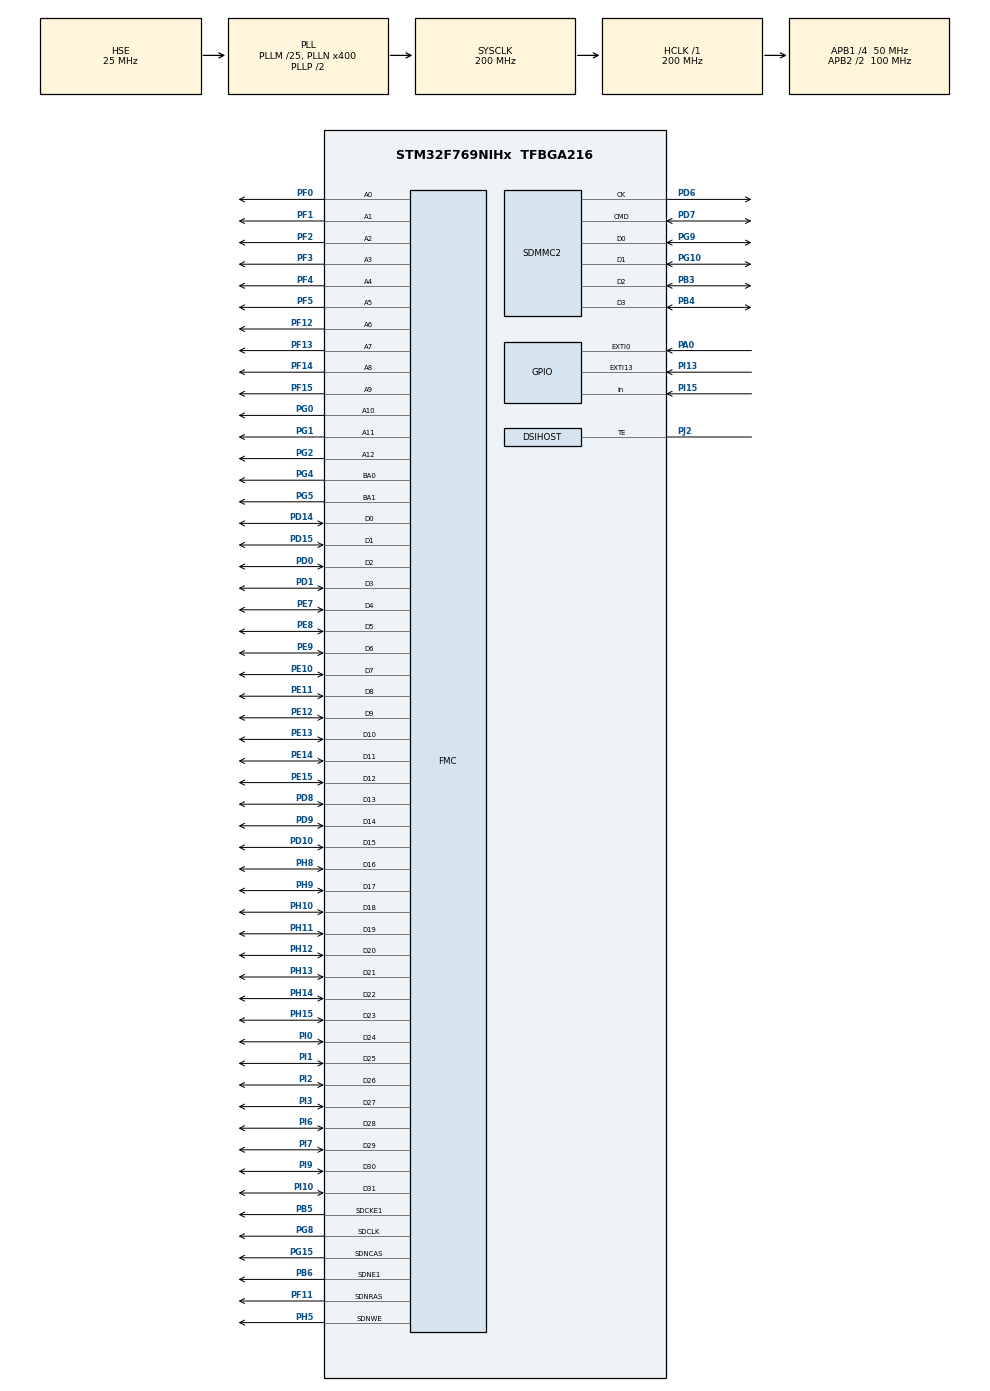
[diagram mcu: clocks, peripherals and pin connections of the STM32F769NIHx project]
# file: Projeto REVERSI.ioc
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ADC1.Channel-1\#ChannelRegularConversion=ADC_CHANNEL_TEMPSENSOR
ADC1.ContinuousConvMode=ENABLE
ADC1.EOCSelection=ADC_EOC_SEQ_CONV
ADC1.NbrOfConversionFlag=1
ADC1.Rank-1\#ChannelRegularConversion=1
ADC1.SamplingTime-1\#ChannelRegularConversion=ADC_SAMPLETIME_56CYCLES
ADC1.master=1
CORTEX_M7.CPU_DCache=Enabled
CORTEX_M7.CPU_ICache=Enabled
DSIHOST_CKN.Mode=DSIHost_Adapted_TE
DSIHOST_CKN.Signal=DSIHOST_CKN
DSIHOST_CKP.Mode=DSIHost_Adapted_TE
DSIHOST_CKP.Signal=DSIHOST_CKP
DSIHOST_D0N.Mode=DSIHost_Adapted_TE
DSIHOST_D0N.Signal=DSIHOST_D0N
DSIHOST_D0P.Mode=DSIHost_Adapted_TE
DSIHOST_D0P.Signal=DSIHOST_D0P
DSIHOST_D1N.Mode=DSIHost_Adapted_TE
DSIHOST_D1N.Signal=DSIHOST_D1N
DSIHOST_D1P.Mode=DSIHost_Adapted_TE
DSIHOST_D1P.Signal=DSIHOST_D1P
FATFS.BSP.number=1
FATFS0.BSP.STBoard=false
FATFS0.BSP.api=Unknown
FATFS0.BSP.i2caddr=0
FATFS0.BSP.instance=PI15
FATFS0.BSP.ip=GPIO
FATFS0.BSP.mode=Input
FATFS0.BSP.name=Detect_SDIO
FATFS0.BSP.solution=PI15
Mcu.Family=STM32F7
Mcu.Name=STM32F769NIHx
Mcu.Package=TFBGA216
NVIC.ADC_IRQn=true\:0\:0\:false\:false\:true\:true\:true
NVIC.EXTI0_IRQn=true\:0\:0\:false\:false\:true\:true\:true
NVIC.EXTI15_10_IRQn=true\:0\:0\:false\:false\:true\:true\:true
NVIC.PriorityGroup=NVIC_PRIORITYGROUP_4
NVIC.TIM6_DAC_IRQn=true\:0\:0\:false\:false\:true\:true\:true
NVIC.TIM7_IRQn=true\:0\:0\:false\:false\:true\:true\:true
PA0/WKUP.Signal=GPXTI0
PB3.Mode=SD_4_bits_Wide_bus
PB3.Signal=SDMMC2_D2
PB4.Mode=SD_4_bits_Wide_bus
PB4.Signal=SDMMC2_D3
PB5.Mode=SdramChipSelect2_1
PB5.Signal=FMC_SDCKE1
PB6.Mode=SdramChipSelect2_1
PB6.Signal=FMC_SDNE1
PD0.Signal=FMC_D2_DA2
PD1.Signal=FMC_D3_DA3
PD10.Signal=FMC_D15_DA15
PD14.Signal=FMC_D0_DA0
PD15.Signal=FMC_D1_DA1
PD6.Mode=SD_4_bits_Wide_bus
PD6.Signal=SDMMC2_CK
PD7.Mode=SD_4_bits_Wide_bus
PD7.Signal=SDMMC2_CMD
PD8.Signal=FMC_D13_DA13
PD9.Signal=FMC_D14_DA14
PE10.Signal=FMC_D7_DA7
PE11.Signal=FMC_D8_DA8
PE12.Signal=FMC_D9_DA9
PE13.Signal=FMC_D10_DA10
PE14.Signal=FMC_D11_DA11
PE15.Signal=FMC_D12_DA12
PE7.Signal=FMC_D4_DA4
PE8.Signal=FMC_D5_DA5
PE9.Signal=FMC_D6_DA6
PF0.Signal=FMC_A0
PF1.Signal=FMC_A1
PF11.Signal=FMC_SDNRAS
PF12.Signal=FMC_A6
PF13.Signal=FMC_A7
PF14.Signal=FMC_A8
PF15.Signal=FMC_A9
PF2.Signal=FMC_A2
PF3.Signal=FMC_A3
PF4.Signal=FMC_A4
PF5.Signal=FMC_A5
PG0.Signal=FMC_A10
PG1.Signal=FMC_A11
PG10.Mode=SD_4_bits_Wide_bus
PG10.Signal=SDMMC2_D1
PG15.Signal=FMC_SDNCAS
PG2.Signal=FMC_A12
PG4.Signal=FMC_A14_BA0
PG5.Signal=FMC_A15_BA1
PG8.Signal=FMC_SDCLK
PG9.Mode=SD_4_bits_Wide_bus
PG9.Signal=SDMMC2_D0
PH0/OSC_IN.Mode=HSE-External-Oscillator
PH0/OSC_IN.Signal=RCC_OSC_IN
PH1/OSC_OUT.Mode=HSE-External-Oscillator
PH1/OSC_OUT.Signal=RCC_OSC_OUT
PH10.Signal=FMC_D18
PH11.Signal=FMC_D19
PH12.Signal=FMC_D20
PH13.Signal=FMC_D21
PH14.Signal=FMC_D22
PH15.Signal=FMC_D23
PH5.Signal=FMC_SDNWE
PH8.Signal=FMC_D16
PH9.Signal=FMC_D17
PI0.Signal=FMC_D24
PI1.Signal=FMC_D25
PI10.Signal=FMC_D31
PI13.Signal=GPXTI13
PI15.Signal=GPIO_Input
PI2.Signal=FMC_D26
PI3.Signal=FMC_D27
PI6.Signal=FMC_D28
PI7.Signal=FMC_D29
PI9.Signal=FMC_D30
PJ2.Mode=DSIHost_Adapted_TE
PJ2.Signal=DSIHOST_TE
ProjectManager.HeapSize=0x200
ProjectManager.StackSize=0x400
ProjectManager.TargetToolchain=STM32CubeIDE
RCC.AHBFreq_Value=200000000
RCC.APB1CLKDivider=RCC_HCLK_DIV4
RCC.APB1Freq_Value=50000000
RCC.APB1TimFreq_Value=100000000
RCC.APB2CLKDivider=RCC_HCLK_DIV2
RCC.APB2Freq_Value=100000000
RCC.APB2TimFreq_Value=200000000
RCC.CortexFreq_Value=200000000
RCC.HCLKFreq_Value=200000000
RCC.HSE_VALUE=25000000
RCC.HSI_VALUE=16000000
RCC.LSE_VALUE=32768
RCC.PLLI2SN=96
RCC.PLLM=25
RCC.PLLN=400
RCC.PLLQ=8
RCC.PLLR=7
RCC.PLLSourceVirtual=RCC_PLLSOURCE_HSE
RCC.SDMMC2ClockSelection=RCC_SDMMC2CLKSOURCE_CLK48
RCC.SYSCLKFreq_VALUE=200000000
RCC.SYSCLKSource=RCC_SYSCLKSOURCE_PLLCLK
RCC.USBFreq_Value=50000000
RCC.VCOOutputFreq_Value=400000000
SH.FMC_A0.0=FMC_A0,13b-sda1
SH.FMC_A1.0=FMC_A1,13b-sda1
SH.FMC_A10.0=FMC_A10,13b-sda1
SH.FMC_A11.0=FMC_A11,13b-sda1
SH.FMC_A12.0=FMC_A12,13b-sda1
SH.FMC_A14_BA0.0=FMC_BA0,FourSdramBanks1
SH.FMC_A15_BA1.0=FMC_BA1,FourSdramBanks1
SH.FMC_A2.0=FMC_A2,13b-sda1
SH.FMC_A3.0=FMC_A3,13b-sda1
SH.FMC_A4.0=FMC_A4,13b-sda1
SH.FMC_A5.0=FMC_A5,13b-sda1
SH.FMC_A6.0=FMC_A6,13b-sda1
SH.FMC_A7.0=FMC_A7,13b-sda1
SH.FMC_A8.0=FMC_A8,13b-sda1
SH.FMC_A9.0=FMC_A9,13b-sda1
SH.FMC_D0_DA0.0=FMC_D0,sd-32b-d1
SH.FMC_D10_DA10.0=FMC_D10,sd-32b-d1
SH.FMC_D11_DA11.0=FMC_D11,sd-32b-d1
SH.FMC_D12_DA12.0=FMC_D12,sd-32b-d1
SH.FMC_D13_DA13.0=FMC_D13,sd-32b-d1
SH.FMC_D14_DA14.0=FMC_D14,sd-32b-d1
SH.FMC_D15_DA15.0=FMC_D15,sd-32b-d1
SH.FMC_D16.0=FMC_D16,sd-32b-d1
SH.FMC_D17.0=FMC_D17,sd-32b-d1
SH.FMC_D18.0=FMC_D18,sd-32b-d1
SH.FMC_D19.0=FMC_D19,sd-32b-d1
SH.FMC_D1_DA1.0=FMC_D1,sd-32b-d1
SH.FMC_D20.0=FMC_D20,sd-32b-d1
SH.FMC_D21.0=FMC_D21,sd-32b-d1
SH.FMC_D22.0=FMC_D22,sd-32b-d1
SH.FMC_D23.0=FMC_D23,sd-32b-d1
SH.FMC_D24.0=FMC_D24,sd-32b-d1
SH.FMC_D25.0=FMC_D25,sd-32b-d1
SH.FMC_D26.0=FMC_D26,sd-32b-d1
SH.FMC_D27.0=FMC_D27,sd-32b-d1
SH.FMC_D28.0=FMC_D28,sd-32b-d1
SH.FMC_D29.0=FMC_D29,sd-32b-d1
SH.FMC_D2_DA2.0=FMC_D2,sd-32b-d1
SH.FMC_D30.0=FMC_D30,sd-32b-d1
SH.FMC_D31.0=FMC_D31,sd-32b-d1
SH.FMC_D3_DA3.0=FMC_D3,sd-32b-d1
SH.FMC_D4_DA4.0=FMC_D4,sd-32b-d1
SH.FMC_D5_DA5.0=FMC_D5,sd-32b-d1
SH.FMC_D6_DA6.0=FMC_D6,sd-32b-d1
SH.FMC_D7_DA7.0=FMC_D7,sd-32b-d1
SH.FMC_D8_DA8.0=FMC_D8,sd-32b-d1
SH.FMC_D9_DA9.0=FMC_D9,sd-32b-d1
SH.FMC_SDCLK.0=FMC_SDCLK,13b-sda1
SH.FMC_SDNCAS.0=FMC_SDNCAS,13b-sda1
SH.FMC_SDNRAS.0=FMC_SDNRAS,13b-sda1
SH.FMC_SDNWE.0=FMC_SDNWE,13b-sda1
TIM6.Period=49999
TIM6.Prescaler=3999
TIM7.Period=49999
TIM7.Prescaler=1999
VP_ADC1_TempSens_Input.Mode=IN-TempSens
VP_DMA2D_VS_DMA2D.Mode=DMA2D_Activate
VP_FATFS_VS_SDIO.Mode=SDIO
VP_LTDC_DSIMode.Mode=RGB888
VP_TIM6_VS_ClockSourceINT.Mode=Enable_Timer
VP_TIM7_VS_ClockSourceINT.Mode=Enable_Timer
board=STM32F769I-DISCO

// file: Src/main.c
/* USER CODE BEGIN Header */
/**
  ******************************************************************************
  * @file           : main.c
  * @brief          : Main program body
  ******************************************************************************
  * @attention
  *
  * <h2><center>&copy; Copyright (c) 2019 STMicroelectronics.
  * All rights reserved.</center></h2>
  *
  * This software component is licensed by ST under BSD 3-Clause license,
  * the "License"; You may not use this file except in compliance with the
  * License. You may obtain a copy of the License at:
  *                        opensource.org/licenses/BSD-3-Clause
  *
  ******************************************************************************
  */
/* USER CODE END Header */

#include "main.h"
#include "fatfs.h"

/* USER CODE BEGIN Includes */

#include <stdio.h>
#include <stdlib.h>
#include <time.h>

#include "stm32f769i_discovery_lcd.h"
#include "stm32f769i_discovery.h"
#include "stm32f769i_discovery_ts.h"

#include "Functions.h"

/* USER CODE END Includes */

/* USER CODE BEGIN PD */

#define TEMP_REFRESH_PERIOD   251    /* Internal temperature refresh period */
#define MAX_CONVERTED_VALUE   4095    /* Max converted value */
#define AMBIENT_TEMP            25    /* Ambient Temperature */
#define VSENS_AT_AMBIENT_TEMP  760    /* VSENSE value (mv) at ambient temperature */
#define AVG_SLOPE               25    /* Avg_Solpe multiply by 10 */
#define VREF                  3300

/* USER CODE END PD */

ADC_HandleTypeDef hadc1;

DMA2D_HandleTypeDef hdma2d;

DSI_HandleTypeDef hdsi;

LTDC_HandleTypeDef hltdc;

SD_HandleTypeDef hsd2;

TIM_HandleTypeDef htim6;
TIM_HandleTypeDef htim7;

SDRAM_HandleTypeDef hsdram1;

/* USER CODE BEGIN PV */

BOOL timerFlag;
int timer7Counter;
int timerDif;

BOOL pbFlag;
BOOL displayMenu;

TS_StateTypeDef TS_State;
int tsFlag=0;

int playerTurn=PLAYERWHITE;

tPiece posArray[DIMENSION*DIMENSION];

uint32_t convertedValue;

int possiblePlaces;
int timeOutCounter[2];

BOOL gameOverFlag;
BOOL robotFlag;

int xSize;
int ySize;

int gameTurn=0;

/* USER CODE END PV */

void SystemClock_Config(void);
static void MX_GPIO_Init(void);
static void MX_DMA2D_Init(void);
static void MX_FMC_Init(void);
static void MX_LTDC_Init(void);
static void MX_DSIHOST_DSI_Init(void);
static void MX_TIM6_Init(void);
static void MX_ADC1_Init(void);
static void MX_SDMMC2_SD_Init(void);
static void MX_TIM7_Init(void);
/* USER CODE BEGIN PFP */

BOOL printTemperature();
void pushButtonTask();
void gameOverTask();
void endGameValidation(int playerTurn,int possiblePlaces,int* timeOutCounter);
void clearGameTime(int posX, int posY);
void sdCardLog(int player, int time, int turn);
/* USER CODE END PFP */

/* USER CODE BEGIN 0 */

void HAL_ADC_ConvCpltCallback(ADC_HandleTypeDef* adcHandle)
{
	if(adcHandle==&hadc1)
		convertedValue=HAL_ADC_GetValue(&hadc1);
}

void HAL_TIM_PeriodElapsedCallback(TIM_HandleTypeDef *htim)
{
    if(htim -> Instance == TIM6){

    	timerFlag=TRUE;

    }

    if(htim -> Instance == TIM7){

    	timer7Counter++;
    	timerDif++;

    }

}

void HAL_GPIO_EXTI_Callback(uint16_t GPIO_Pin){

	if(GPIO_Pin == GPIO_PIN_13){

		BSP_TS_GetState(&TS_State);
		HAL_Delay(11);

		if(TS_State.touchDetected)

			tsFlag=1;

	}

	if(GPIO_Pin == GPIO_PIN_0){

		pbFlag=TRUE;

	}

}

/* USER CODE END 0 */

int main(void)
{
  /* USER CODE BEGIN 1 */

	int playerTurnCopy;

  /* USER CODE END 1 */

  /* Enable I-Cache---------------------------------------------------------*/
  SCB_EnableICache();

  /* Enable D-Cache---------------------------------------------------------*/
  SCB_EnableDCache();

  /* MCU Configuration--------------------------------------------------------*/

  /* Reset of all peripherals, Initializes the Flash interface and the Systick. */
  HAL_Init();

  /* Configure the system clock */
  SystemClock_Config();

  /* Initialize all configured peripherals */
  MX_GPIO_Init();
  MX_DMA2D_Init();
  MX_FMC_Init();
  MX_LTDC_Init();
  MX_DSIHOST_DSI_Init();
  MX_TIM6_Init();
  MX_ADC1_Init();
  MX_SDMMC2_SD_Init();
  MX_TIM7_Init();
  MX_FATFS_Init();
  /* USER CODE BEGIN 2 */

  BSP_LCD_Init();
  BSP_LCD_LayerDefaultInit(LTDC_ACTIVE_LAYER_BACKGROUND,LCD_FB_START_ADDRESS);
  BSP_LCD_Clear(LCD_COLOR_WHITE);
  xSize=BSP_LCD_GetXSize();
  ySize=BSP_LCD_GetYSize();

  BSP_TS_Init(xSize,ySize);
  BSP_TS_ITConfig();

  HAL_TIM_Base_Start_IT(&htim6);
  HAL_TIM_Base_Start_IT(&htim7);
  HAL_ADC_Start_IT(&hadc1);

  displayMenu=TRUE;
  pbFlag=FALSE;

  timerFlag=FALSE;
  timer7Counter=0;
  timerDif=0;
  timeOutCounter[0]=0;
  timeOutCounter[1]=0;
  gameOverFlag=FALSE;
  robotFlag=FALSE;

  srand(time(NULL));

  /* USER CODE END 2 */

  /* Infinite loop */
  while (1)
  {

    /* USER CODE BEGIN 3 */

	  if(timerFlag){

		timerFlag=printTemperature();

	  }

	  if(gameOverFlag){

		  gameOverTask();

		  if(pbFlag){

			  pushButtonTask();
		  }

	  }

	  else if(displayMenu){

		  MENU();

		  if(tsFlag){

			  displayMenu=selectMenuOption((int)TS_State.touchX[0], (int)TS_State.touchY[0],&robotFlag);

		  }

		  if(!displayMenu){

			  printBoard(&timer7Counter);
			  gameStats(playerTurn,possiblePlaces);

		  }

	  }

	  else if (!robotFlag){

		  possiblePlaces=findPossiblePlaces(playerTurn);

		  printTotalGameTime(timer7Counter);
		  playerTurnCopy=playerTurn;
		  playerTurn = printPlayTime(timerDif, playerTurn, timeOutCounter);

		  endGameValidation(playerTurn, possiblePlaces, timeOutCounter);

		  if(!gameOverFlag){

			  if(playerTurn != playerTurnCopy){
				  possiblePlaces=findPossiblePlaces(playerTurn);
				  gameStats(playerTurn,possiblePlaces);
				  refreshBoard();
			  }

			  if(tsFlag){

				  tsFlag=0;
				  gameTurn++;

				  sdCardLog(playerTurn, timer7Counter, gameTurn);

				  clearGameTime((int)TS_State.touchX[0], (int)TS_State.touchY[0]);

				  timerDif=0;

				  playerTurn=placePiece((int)TS_State.touchX[0], (int)TS_State.touchY[0],playerTurn);
				  possiblePlaces=findPossiblePlaces(playerTurn);
				  gameStats(playerTurn,possiblePlaces);
				  refreshBoard();

				  endGameValidation(playerTurn, possiblePlaces, timeOutCounter);

			  }

			  if(pbFlag){

				  pushButtonTask();

			  }

		  }
	  }

	  else{

		  possiblePlaces=findPossiblePlaces(playerTurn);
		  printTotalGameTime(timer7Counter);
		  playerTurnCopy=playerTurn;
		  playerTurn = printPlayTime(timerDif, playerTurn, timeOutCounter);

		  endGameValidation(playerTurn, possiblePlaces, timeOutCounter);

		  if(playerTurn != playerTurnCopy){
			  possiblePlaces=findPossiblePlaces(playerTurn);
			  gameStats(playerTurn,possiblePlaces);
			  refreshBoard();
		  }

		  if(playerTurn==PLAYERWHITE){

			  if(tsFlag){

				  gameTurn++;
				  sdCardLog(playerTurn, timer7Counter, gameTurn);

				  tsFlag=0;

				  clearGameTime((int)TS_State.touchX[0], (int)TS_State.touchY[0]);

				  timerDif=0;
				  playerTurn=placePiece((int)TS_State.touchX[0], (int)TS_State.touchY[0],playerTurn);
				  gameStats(playerTurn,possiblePlaces);
				  refreshBoard();
			  }

			  endGameValidation(playerTurn, possiblePlaces, timeOutCounter);

			  if(pbFlag){

				  pushButtonTask();

			  }

		  }

		  if(playerTurn==PLAYERBLACK){

			  gameTurn++;

			  sdCardLog(playerTurn, timer7Counter, gameTurn);

			  timerDif=0;
			  playerTurn=robotChoice(possiblePlaces);
			  gameStats(playerTurn,possiblePlaces);
			  refreshBoard();

			  endGameValidation(playerTurn, possiblePlaces, timeOutCounter);

			  if(pbFlag){

				  pushButtonTask();

			  }
		  }

	  }

  }
  /* USER CODE END 3 */
}

void SystemClock_Config(void)
{
  RCC_OscInitTypeDef RCC_OscInitStruct = {0};
  RCC_ClkInitTypeDef RCC_ClkInitStruct = {0};
  RCC_PeriphCLKInitTypeDef PeriphClkInitStruct = {0};

  /** Configure the main internal regulator output voltage
  */
  __HAL_RCC_PWR_CLK_ENABLE();
  __HAL_PWR_VOLTAGESCALING_CONFIG(PWR_REGULATOR_VOLTAGE_SCALE1);
  /** Initializes the CPU, AHB and APB busses clocks
  */
  RCC_OscInitStruct.OscillatorType = RCC_OSCILLATORTYPE_HSE;
  RCC_OscInitStruct.HSEState = RCC_HSE_ON;
  RCC_OscInitStruct.PLL.PLLState = RCC_PLL_ON;
  RCC_OscInitStruct.PLL.PLLSource = RCC_PLLSOURCE_HSE;
  RCC_OscInitStruct.PLL.PLLM = 25;
  RCC_OscInitStruct.PLL.PLLN = 400;
  RCC_OscInitStruct.PLL.PLLP = RCC_PLLP_DIV2;
  RCC_OscInitStruct.PLL.PLLQ = 8;
  if (HAL_RCC_OscConfig(&RCC_OscInitStruct) != HAL_OK)
  {
    Error_Handler();
  }
  /** Activate the Over-Drive mode
  */
  if (HAL_PWREx_EnableOverDrive() != HAL_OK)
  {
    Error_Handler();
  }
  /** Initializes the CPU, AHB and APB busses clocks
  */
  RCC_ClkInitStruct.ClockType = RCC_CLOCKTYPE_HCLK|RCC_CLOCKTYPE_SYSCLK
                              |RCC_CLOCKTYPE_PCLK1|RCC_CLOCKTYPE_PCLK2;
  RCC_ClkInitStruct.SYSCLKSource = RCC_SYSCLKSOURCE_PLLCLK;
  RCC_ClkInitStruct.AHBCLKDivider = RCC_SYSCLK_DIV1;
  RCC_ClkInitStruct.APB1CLKDivider = RCC_HCLK_DIV4;
  RCC_ClkInitStruct.APB2CLKDivider = RCC_HCLK_DIV2;

  if (HAL_RCC_ClockConfig(&RCC_ClkInitStruct, FLASH_LATENCY_6) != HAL_OK)
  {
    Error_Handler();
  }
  PeriphClkInitStruct.PeriphClockSelection = RCC_PERIPHCLK_LTDC|RCC_PERIPHCLK_SDMMC2
                              |RCC_PERIPHCLK_CLK48;
  PeriphClkInitStruct.PLLSAI.PLLSAIN = 192;
  PeriphClkInitStruct.PLLSAI.PLLSAIR = 2;
  PeriphClkInitStruct.PLLSAI.PLLSAIQ = 2;
  PeriphClkInitStruct.PLLSAI.PLLSAIP = RCC_PLLSAIP_DIV2;
  PeriphClkInitStruct.PLLSAIDivQ = 1;
  PeriphClkInitStruct.PLLSAIDivR = RCC_PLLSAIDIVR_2;
  PeriphClkInitStruct.Clk48ClockSelection = RCC_CLK48SOURCE_PLL;
  PeriphClkInitStruct.Sdmmc2ClockSelection = RCC_SDMMC2CLKSOURCE_CLK48;
  if (HAL_RCCEx_PeriphCLKConfig(&PeriphClkInitStruct) != HAL_OK)
  {
    Error_Handler();
  }
}

static void MX_ADC1_Init(void)
{

  ADC_ChannelConfTypeDef sConfig = {0};

  /** Configure the global features of the ADC (Clock, Resolution, Data Alignment and number of conversion)
  */
  hadc1.Instance = ADC1;
  hadc1.Init.ClockPrescaler = ADC_CLOCK_SYNC_PCLK_DIV4;
  hadc1.Init.Resolution = ADC_RESOLUTION_12B;
  hadc1.Init.ScanConvMode = DISABLE;
  hadc1.Init.ContinuousConvMode = ENABLE;
  hadc1.Init.DiscontinuousConvMode = DISABLE;
  hadc1.Init.ExternalTrigConvEdge = ADC_EXTERNALTRIGCONVEDGE_NONE;
  hadc1.Init.ExternalTrigConv = ADC_SOFTWARE_START;
  hadc1.Init.DataAlign = ADC_DATAALIGN_RIGHT;
  hadc1.Init.NbrOfConversion = 1;
  hadc1.Init.DMAContinuousRequests = DISABLE;
  hadc1.Init.EOCSelection = ADC_EOC_SEQ_CONV;
  if (HAL_ADC_Init(&hadc1) != HAL_OK)
  {
    Error_Handler();
  }
  /** Configure for the selected ADC regular channel its corresponding rank in the sequencer and its sample time.
  */
  sConfig.Channel = ADC_CHANNEL_TEMPSENSOR;
  sConfig.Rank = ADC_REGULAR_RANK_1;
  sConfig.SamplingTime = ADC_SAMPLETIME_56CYCLES;
  if (HAL_ADC_ConfigChannel(&hadc1, &sConfig) != HAL_OK)
  {
    Error_Handler();
  }

}

static void MX_DMA2D_Init(void)
{

  hdma2d.Instance = DMA2D;
  hdma2d.Init.Mode = DMA2D_M2M;
  hdma2d.Init.ColorMode = DMA2D_OUTPUT_ARGB8888;
  hdma2d.Init.OutputOffset = 0;
  hdma2d.LayerCfg[1].InputOffset = 0;
  hdma2d.LayerCfg[1].InputColorMode = DMA2D_INPUT_ARGB8888;
  hdma2d.LayerCfg[1].AlphaMode = DMA2D_NO_MODIF_ALPHA;
  hdma2d.LayerCfg[1].InputAlpha = 0;
  hdma2d.LayerCfg[1].AlphaInverted = DMA2D_REGULAR_ALPHA;
  hdma2d.LayerCfg[1].RedBlueSwap = DMA2D_RB_REGULAR;
  if (HAL_DMA2D_Init(&hdma2d) != HAL_OK)
  {
    Error_Handler();
  }
  if (HAL_DMA2D_ConfigLayer(&hdma2d, 1) != HAL_OK)
  {
    Error_Handler();
  }

}

static void MX_DSIHOST_DSI_Init(void)
{

  DSI_PLLInitTypeDef PLLInit = {0};
  DSI_HOST_TimeoutTypeDef HostTimeouts = {0};
  DSI_PHY_TimerTypeDef PhyTimings = {0};
  DSI_LPCmdTypeDef LPCmd = {0};
  DSI_CmdCfgTypeDef CmdCfg = {0};

  hdsi.Instance = DSI;
  hdsi.Init.AutomaticClockLaneControl = DSI_AUTO_CLK_LANE_CTRL_DISABLE;
  hdsi.Init.TXEscapeCkdiv = 4;
  hdsi.Init.NumberOfLanes = DSI_ONE_DATA_LANE;
  PLLInit.PLLNDIV = 20;
  PLLInit.PLLIDF = DSI_PLL_IN_DIV1;
  PLLInit.PLLODF = DSI_PLL_OUT_DIV1;
  if (HAL_DSI_Init(&hdsi, &PLLInit) != HAL_OK)
  {
    Error_Handler();
  }
  HostTimeouts.TimeoutCkdiv = 1;
  HostTimeouts.HighSpeedTransmissionTimeout = 0;
  HostTimeouts.LowPowerReceptionTimeout = 0;
  HostTimeouts.HighSpeedReadTimeout = 0;
  HostTimeouts.LowPowerReadTimeout = 0;
  HostTimeouts.HighSpeedWriteTimeout = 0;
  HostTimeouts.HighSpeedWritePrespMode = DSI_HS_PM_DISABLE;
  HostTimeouts.LowPowerWriteTimeout = 0;
  HostTimeouts.BTATimeout = 0;
  if (HAL_DSI_ConfigHostTimeouts(&hdsi, &HostTimeouts) != HAL_OK)
  {
    Error_Handler();
  }
  PhyTimings.ClockLaneHS2LPTime = 28;
  PhyTimings.ClockLaneLP2HSTime = 33;
  PhyTimings.DataLaneHS2LPTime = 15;
  PhyTimings.DataLaneLP2HSTime = 25;
  PhyTimings.DataLaneMaxReadTime = 0;
  PhyTimings.StopWaitTime = 0;
  if (HAL_DSI_ConfigPhyTimer(&hdsi, &PhyTimings) != HAL_OK)
  {
    Error_Handler();
  }
  if (HAL_DSI_ConfigFlowControl(&hdsi, DSI_FLOW_CONTROL_BTA) != HAL_OK)
  {
    Error_Handler();
  }
  if (HAL_DSI_SetLowPowerRXFilter(&hdsi, 10000) != HAL_OK)
  {
    Error_Handler();
  }
  if (HAL_DSI_ConfigErrorMonitor(&hdsi, HAL_DSI_ERROR_NONE) != HAL_OK)
  {
    Error_Handler();
  }
  LPCmd.LPGenShortWriteNoP = DSI_LP_GSW0P_DISABLE;
  LPCmd.LPGenShortWriteOneP = DSI_LP_GSW1P_DISABLE;
  LPCmd.LPGenShortWriteTwoP = DSI_LP_GSW2P_DISABLE;
  LPCmd.LPGenShortReadNoP = DSI_LP_GSR0P_DISABLE;
  LPCmd.LPGenShortReadOneP = DSI_LP_GSR1P_DISABLE;
  LPCmd.LPGenShortReadTwoP = DSI_LP_GSR2P_DISABLE;
  LPCmd.LPGenLongWrite = DSI_LP_GLW_DISABLE;
  LPCmd.LPDcsShortWriteNoP = DSI_LP_DSW0P_DISABLE;
  LPCmd.LPDcsShortWriteOneP = DSI_LP_DSW1P_DISABLE;
  LPCmd.LPDcsShortReadNoP = DSI_LP_DSR0P_DISABLE;
  LPCmd.LPDcsLongWrite = DSI_LP_DLW_DISABLE;
  LPCmd.LPMaxReadPacket = DSI_LP_MRDP_DISABLE;
  LPCmd.AcknowledgeRequest = DSI_ACKNOWLEDGE_DISABLE;
  if (HAL_DSI_ConfigCommand(&hdsi, &LPCmd) != HAL_OK)
  {
    Error_Handler();
  }
  CmdCfg.VirtualChannelID = 0;
  CmdCfg.ColorCoding = DSI_RGB888;
  CmdCfg.CommandSize = 640;
  CmdCfg.TearingEffectSource = DSI_TE_EXTERNAL;
  CmdCfg.TearingEffectPolarity = DSI_TE_RISING_EDGE;
  CmdCfg.HSPolarity = DSI_HSYNC_ACTIVE_LOW;
  CmdCfg.VSPolarity = DSI_VSYNC_ACTIVE_LOW;
  CmdCfg.DEPolarity = DSI_DATA_ENABLE_ACTIVE_HIGH;
  CmdCfg.VSyncPol = DSI_VSYNC_FALLING;
  CmdCfg.AutomaticRefresh = DSI_AR_ENABLE;
  CmdCfg.TEAcknowledgeRequest = DSI_TE_ACKNOWLEDGE_DISABLE;
  if (HAL_DSI_ConfigAdaptedCommandMode(&hdsi, &CmdCfg) != HAL_OK)
  {
    Error_Handler();
  }
  if (HAL_DSI_SetGenericVCID(&hdsi, 0) != HAL_OK)
  {
    Error_Handler();
  }

}

static void MX_LTDC_Init(void)
{

  LTDC_LayerCfgTypeDef pLayerCfg = {0};
  LTDC_LayerCfgTypeDef pLayerCfg1 = {0};

  hltdc.Instance = LTDC;
  hltdc.Init.HSPolarity = LTDC_HSPOLARITY_AL;
  hltdc.Init.VSPolarity = LTDC_VSPOLARITY_AL;
  hltdc.Init.DEPolarity = LTDC_DEPOLARITY_AL;
  hltdc.Init.PCPolarity = LTDC_PCPOLARITY_IPC;
  hltdc.Init.HorizontalSync = 7;
  hltdc.Init.VerticalSync = 3;
  hltdc.Init.AccumulatedHBP = 14;
  hltdc.Init.AccumulatedVBP = 5;
  hltdc.Init.AccumulatedActiveW = 654;
  hltdc.Init.AccumulatedActiveH = 485;
  hltdc.Init.TotalWidth = 660;
  hltdc.Init.TotalHeigh = 487;
  hltdc.Init.Backcolor.Blue = 0;
  hltdc.Init.Backcolor.Green = 0;
  hltdc.Init.Backcolor.Red = 0;
  if (HAL_LTDC_Init(&hltdc) != HAL_OK)
  {
    Error_Handler();
  }
  pLayerCfg.WindowX0 = 0;
  pLayerCfg.WindowX1 = 0;
  pLayerCfg.WindowY0 = 0;
  pLayerCfg.WindowY1 = 0;
  pLayerCfg.PixelFormat = LTDC_PIXEL_FORMAT_ARGB8888;
  pLayerCfg.Alpha = 0;
  pLayerCfg.Alpha0 = 0;
  pLayerCfg.BlendingFactor1 = LTDC_BLENDING_FACTOR1_CA;
  pLayerCfg.BlendingFactor2 = LTDC_BLENDING_FACTOR2_CA;
  pLayerCfg.FBStartAdress = 0;
  pLayerCfg.ImageWidth = 0;
  pLayerCfg.ImageHeight = 0;
  pLayerCfg.Backcolor.Blue = 0;
  pLayerCfg.Backcolor.Green = 0;
  pLayerCfg.Backcolor.Red = 0;
  if (HAL_LTDC_ConfigLayer(&hltdc, &pLayerCfg, 0) != HAL_OK)
  {
    Error_Handler();
  }
  pLayerCfg1.WindowX0 = 0;
  pLayerCfg1.WindowX1 = 0;
  pLayerCfg1.WindowY0 = 0;
  pLayerCfg1.WindowY1 = 0;
  pLayerCfg1.PixelFormat = LTDC_PIXEL_FORMAT_ARGB8888;
  pLayerCfg1.Alpha = 0;
  pLayerCfg1.Alpha0 = 0;
  pLayerCfg1.BlendingFactor1 = LTDC_BLENDING_FACTOR1_CA;
  pLayerCfg1.BlendingFactor2 = LTDC_BLENDING_FACTOR2_CA;
  pLayerCfg1.FBStartAdress = 0;
  pLayerCfg1.ImageWidth = 0;
  pLayerCfg1.ImageHeight = 0;
  pLayerCfg1.Backcolor.Blue = 0;
  pLayerCfg1.Backcolor.Green = 0;
  pLayerCfg1.Backcolor.Red = 0;
  if (HAL_LTDC_ConfigLayer(&hltdc, &pLayerCfg1, 1) != HAL_OK)
  {
    Error_Handler();
  }

}

static void MX_SDMMC2_SD_Init(void)
{

  hsd2.Instance = SDMMC2;
  hsd2.Init.ClockEdge = SDMMC_CLOCK_EDGE_RISING;
  hsd2.Init.ClockBypass = SDMMC_CLOCK_BYPASS_DISABLE;
  hsd2.Init.ClockPowerSave = SDMMC_CLOCK_POWER_SAVE_DISABLE;
  hsd2.Init.BusWide = SDMMC_BUS_WIDE_1B;
  hsd2.Init.HardwareFlowControl = SDMMC_HARDWARE_FLOW_CONTROL_DISABLE;
  hsd2.Init.ClockDiv = 0;

}

static void MX_TIM6_Init(void)
{

  TIM_MasterConfigTypeDef sMasterConfig = {0};

  htim6.Instance = TIM6;
  htim6.Init.Prescaler = 3999;
  htim6.Init.CounterMode = TIM_COUNTERMODE_UP;
  htim6.Init.Period = 49999;
  htim6.Init.AutoReloadPreload = TIM_AUTORELOAD_PRELOAD_DISABLE;
  if (HAL_TIM_Base_Init(&htim6) != HAL_OK)
  {
    Error_Handler();
  }
  sMasterConfig.MasterOutputTrigger = TIM_TRGO_RESET;
  sMasterConfig.MasterSlaveMode = TIM_MASTERSLAVEMODE_DISABLE;
  if (HAL_TIMEx_MasterConfigSynchronization(&htim6, &sMasterConfig) != HAL_OK)
  {
    Error_Handler();
  }

}

static void MX_TIM7_Init(void)
{

  TIM_MasterConfigTypeDef sMasterConfig = {0};

  htim7.Instance = TIM7;
  htim7.Init.Prescaler = 1999;
  htim7.Init.CounterMode = TIM_COUNTERMODE_UP;
  htim7.Init.Period = 49999;
  htim7.Init.AutoReloadPreload = TIM_AUTORELOAD_PRELOAD_DISABLE;
  if (HAL_TIM_Base_Init(&htim7) != HAL_OK)
  {
    Error_Handler();
  }
  sMasterConfig.MasterOutputTrigger = TIM_TRGO_RESET;
  sMasterConfig.MasterSlaveMode = TIM_MASTERSLAVEMODE_DISABLE;
  if (HAL_TIMEx_MasterConfigSynchronization(&htim7, &sMasterConfig) != HAL_OK)
  {
    Error_Handler();
  }

}

/* FMC initialization function */
static void MX_FMC_Init(void)
{

  FMC_SDRAM_TimingTypeDef SdramTiming = {0};

  /** Perform the SDRAM1 memory initialization sequence
  */
  hsdram1.Instance = FMC_SDRAM_DEVICE;
  /* hsdram1.Init */
  hsdram1.Init.SDBank = FMC_SDRAM_BANK2;
  hsdram1.Init.ColumnBitsNumber = FMC_SDRAM_COLUMN_BITS_NUM_8;
  hsdram1.Init.RowBitsNumber = FMC_SDRAM_ROW_BITS_NUM_13;
  hsdram1.Init.MemoryDataWidth = FMC_SDRAM_MEM_BUS_WIDTH_32;
  hsdram1.Init.InternalBankNumber = FMC_SDRAM_INTERN_BANKS_NUM_4;
  hsdram1.Init.CASLatency = FMC_SDRAM_CAS_LATENCY_1;
  hsdram1.Init.WriteProtection = FMC_SDRAM_WRITE_PROTECTION_DISABLE;
  hsdram1.Init.SDClockPeriod = FMC_SDRAM_CLOCK_DISABLE;
  hsdram1.Init.ReadBurst = FMC_SDRAM_RBURST_DISABLE;
  hsdram1.Init.ReadPipeDelay = FMC_SDRAM_RPIPE_DELAY_0;
  /* SdramTiming */
  SdramTiming.LoadToActiveDelay = 16;
  SdramTiming.ExitSelfRefreshDelay = 16;
  SdramTiming.SelfRefreshTime = 16;
  SdramTiming.RowCycleDelay = 16;
  SdramTiming.WriteRecoveryTime = 16;
  SdramTiming.RPDelay = 16;
  SdramTiming.RCDDelay = 16;

  if (HAL_SDRAM_Init(&hsdram1, &SdramTiming) != HAL_OK)
  {
    Error_Handler( );
  }

}

static void MX_GPIO_Init(void)
{
  GPIO_InitTypeDef GPIO_InitStruct = {0};

  /* GPIO Ports Clock Enable */
  __HAL_RCC_GPIOB_CLK_ENABLE();
  __HAL_RCC_GPIOD_CLK_ENABLE();
  __HAL_RCC_GPIOG_CLK_ENABLE();
  __HAL_RCC_GPIOI_CLK_ENABLE();
  __HAL_RCC_GPIOF_CLK_ENABLE();
  __HAL_RCC_GPIOH_CLK_ENABLE();
  __HAL_RCC_GPIOA_CLK_ENABLE();
  __HAL_RCC_GPIOE_CLK_ENABLE();
  __HAL_RCC_GPIOJ_CLK_ENABLE();

  /*Configure GPIO pin : PI13 */
  GPIO_InitStruct.Pin = GPIO_PIN_13;
  GPIO_InitStruct.Mode = GPIO_MODE_IT_RISING;
  GPIO_InitStruct.Pull = GPIO_NOPULL;
  HAL_GPIO_Init(GPIOI, &GPIO_InitStruct);

  /*Configure GPIO pin : PI15 */
  GPIO_InitStruct.Pin = GPIO_PIN_15;
  GPIO_InitStruct.Mode = GPIO_MODE_INPUT;
  GPIO_InitStruct.Pull = GPIO_NOPULL;
  HAL_GPIO_Init(GPIOI, &GPIO_InitStruct);

  /*Configure GPIO pin : PA0 */
  GPIO_InitStruct.Pin = GPIO_PIN_0;
  GPIO_InitStruct.Mode = GPIO_MODE_IT_RISING;
  GPIO_InitStruct.Pull = GPIO_NOPULL;
  HAL_GPIO_Init(GPIOA, &GPIO_InitStruct);

  /* EXTI interrupt init*/
  HAL_NVIC_SetPriority(EXTI0_IRQn, 0, 0);
  HAL_NVIC_EnableIRQ(EXTI0_IRQn);

  HAL_NVIC_SetPriority(EXTI15_10_IRQn, 0, 0);
  HAL_NVIC_EnableIRQ(EXTI15_10_IRQn);

}

/* USER CODE BEGIN 4 */

BOOL printTemperature(){

	uint32_t JTemp;
	char tempString[STRSIZE];

	JTemp = ((((convertedValue * VREF)/MAX_CONVERTED_VALUE) - VSENS_AT_AMBIENT_TEMP) * 10 / AVG_SLOPE) + AMBIENT_TEMP;

	sprintf(tempString, "Temp: %ld deg. Celsius ", JTemp);
	BSP_LCD_SetBackColor(LCD_COLOR_WHITE);
	BSP_LCD_SetFont(&Font12);
	BSP_LCD_SetTextColor(LCD_COLOR_DARKMAGENTA);

	BSP_LCD_DisplayStringAt(0, ySize-10, (uint8_t *)tempString,RIGHT_MODE);

	return FALSE;

}

void pushButtonTask(){

	pbFlag=FALSE;
	BSP_LCD_SetTextColor(LCD_COLOR_WHITE);
	BSP_LCD_FillRect(boardX0-1, boardY0, xSize-(boardX0-1), ySize-boardY0);
	displayMenu=TRUE;
	gameOverFlag=FALSE;
	robotFlag=FALSE;
	gameTurn=0;
}

void gameOverTask(){

	  printEndMessage();
	  timeOutCounter[0]=0;
	  timeOutCounter[1]=0;

}

void endGameValidation(int playerTurn,int possiblePlaces,int* timeOutCounter){

	HAL_ADC_Stop_IT(&hadc1);

	if(endGame(playerTurn, possiblePlaces, timeOutCounter)){

		  gameOverFlag=TRUE;
		  refreshBoard();

	}
	HAL_ADC_Start_IT(&hadc1);
}

void clearGameTime(int posX, int posY){

	if(posX>=STATSX0 && posX<STATSX0+200){
		if(posY>=boardY0+40 && posY < boardY0+80){

			timer7Counter = 0;

		}
	}

}

void sdCardLog(int player, int time, int turn){

	char playerStr[STRSIZE];
	char timeGameStr[STRSIZE];
	char gameTurnStr[STRSIZE];

	if(player==PLAYERWHITE){

		sprintf(playerStr, "WHITE SNOW");

	}

	else{

		sprintf(playerStr,"SIRIUS BLACK");

	}

	sprintf(timeGameStr, "GAME TIME: %i", time);
	sprintf(gameTurnStr, "GAME TURN: %i", turn);

	HAL_ADC_Stop_IT(&hadc1);

	writeGameInfoSD (playerStr, timeGameStr, gameTurnStr);

	HAL_ADC_Start_IT(&hadc1);
}

/* USER CODE END 4 */

void Error_Handler(void)
{
}

/************************ (C) COPYRIGHT STMicroelectronics *****END OF FILE****/
